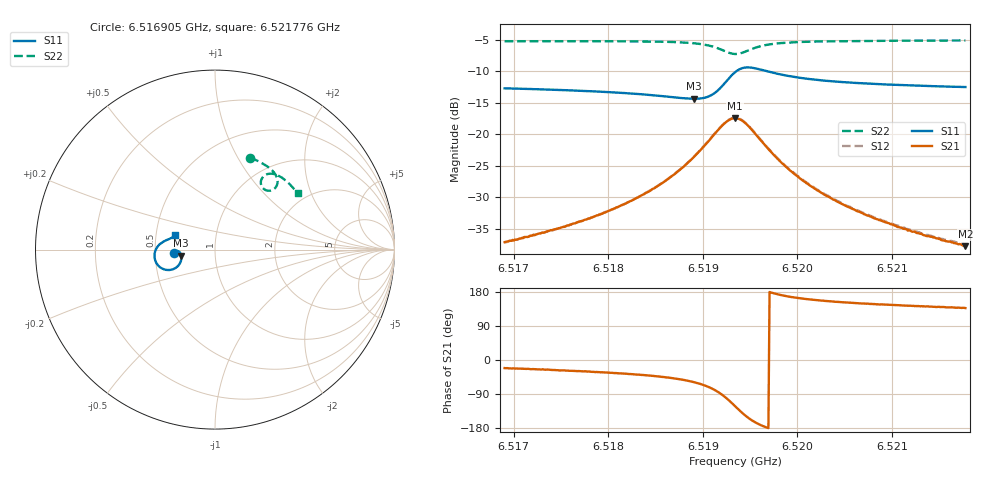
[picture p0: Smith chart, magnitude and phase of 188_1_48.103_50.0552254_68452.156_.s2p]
#  HZ  S  RI  R  50.00
! Rohde & Schwarz Vector Network Analyzer
! Rohde-Schwarz,ZNB20-2Port,1311601062101988,3.16
! Created: UTC 12/23/2023, 3:53:28 AM
! freq[Hz]  re:S11  im:S11  re:S21  im:S21  re:S12  im:S12  re:S22  im:S22
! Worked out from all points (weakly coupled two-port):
!   401 points, 6.516905 GHz to 6.521776 GHz, reference 50 ohm
!   highest |S21| = -17.45 dB at 6.51934 GHz (marker M1); lowest = -37.8 dB at 6.521776 GHz (marker M2)
!   lowest |S11| = -14.4 dB at 6.518902 GHz (marker M3), VSWR 1.47, Z = 34.1 - j2.36 ohm
!   |S11| at or under -10 dB: start of sweep to 6.519353 GHz; 6.519682 GHz to end of sweep
!   |S22| runs from -7.3 to -5.1 dB; largest |S21 - S12| = 0.0043
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6.5169051e9  -0.2309 -0.0189  0.0129 -0.00505  0.0131 -0.00456  0.1966 0.5115
6.5173922e9  -0.2255 -0.0117  0.0156 -0.00758  0.0156 -0.00694  0.2326 0.4967
6.5177209e9  -0.221 -0.00779  0.0177 -0.0101  0.0181 -0.00961  0.2568 0.4847
6.5181349e9  -0.2131 -0.00529  0.0221 -0.0157  0.0226 -0.0149  0.2879 0.4659
6.5185367e9  -0.2019 -0.0096  0.0286 -0.0271  0.0294 -0.0264  0.3189 0.4407
6.5187315e9  -0.1945 -0.0178  0.0325 -0.0385  0.0338 -0.0375  0.334 0.4229
6.518902e9  -0.1883 -0.0334  0.0344 -0.0556  0.0365 -0.0549  0.3453 0.4005
6.5190237e9  -0.1878 -0.0538  0.0314 -0.0756  0.034 -0.0753  0.3487 0.3777
6.519109e9  -0.1946 -0.0749  0.0221 -0.0948  0.0251 -0.0948  0.3444 0.3577
6.5192429e9  -0.2358 -0.11  -0.0202 -0.1228  -0.0167 -0.1243  0.3128 0.3296
6.5192916e9  -0.263 -0.1138  -0.045 -0.1235  -0.0418 -0.1257  0.2934 0.3284
6.5193403e9  -0.292 -0.1066  -0.0705 -0.114  -0.0677 -0.1171  0.2744 0.3362
6.519389e9  -0.3164 -0.0887  -0.0903 -0.0958  -0.0882 -0.0992  0.2607 0.3516
6.5194499e9  -0.3337 -0.0581  -0.1024 -0.0672  -0.1011 -0.0708  0.2553 0.375
6.5195595e9  -0.3334 -0.00892  -0.0966 -0.0254  -0.0966 -0.0285  0.2695 0.4071
6.5196691e9  -0.3175 0.0199  -0.0798 -0.00339  -0.0803 -0.0058  0.2922 0.4204
6.5199004e9  -0.2875 0.0445  -0.0522 0.0114  -0.053 0.00978  0.3305 0.4209
6.5201561e9  -0.2675 0.054  -0.0356 0.0137  -0.0364 0.0126  0.3596 0.4089
6.5205092e9  -0.2514 0.0608  -0.0239 0.0127  -0.0245 0.0122  0.3884 0.3893
6.5209719e9  -0.2386 0.0677  -0.0161 0.0111  -0.0166 0.0108  0.4182 0.3621
6.5213494e9  -0.2309 0.0728  -0.0122 0.00982  -0.0129 0.0097  0.439 0.3393
6.5217755e9  -0.2237 0.0788  -0.00944 0.00878  -0.01 0.0087  0.4598 0.313
